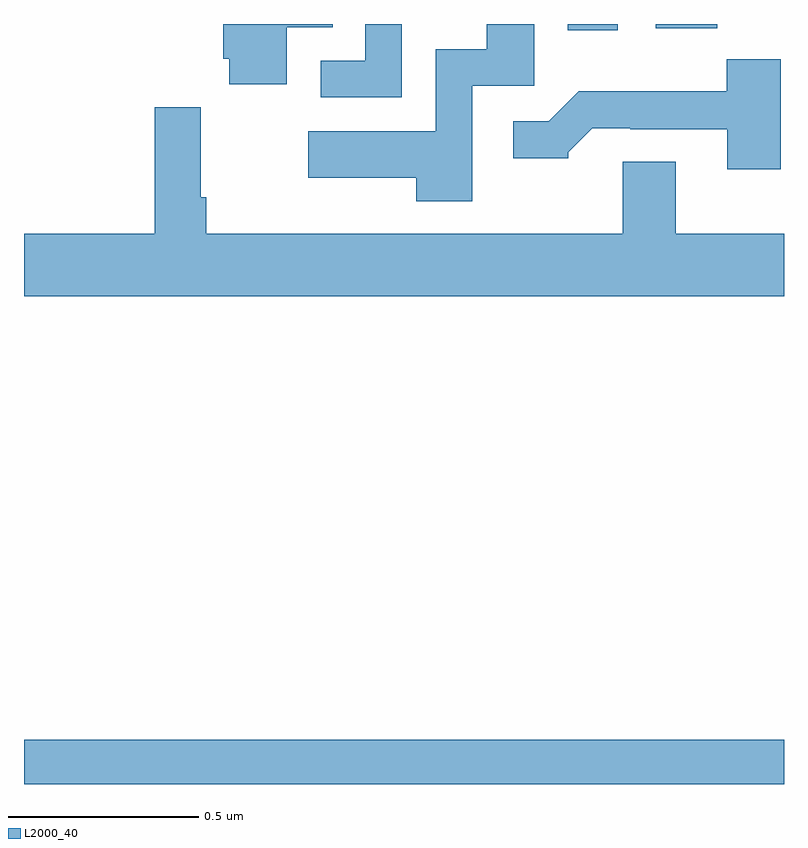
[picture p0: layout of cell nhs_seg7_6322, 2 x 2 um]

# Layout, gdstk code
import gdstk
lib = gdstk.Library(unit=1e-6, precision=1e-09)
def R(c, l, rs):  # rectangles x0, y0, x1, y1
    for r in rs: c.add(gdstk.rectangle(r[:2], r[2:], *l))
def P(c, l, *ps):  # polygons
    for p in ps: c.add(gdstk.Polygon(p, *l))
L2000_40 = (2000, 40)

nhs_seg7_6322 = lib.new_cell('nhs_seg7_6322')
R(nhs_seg7_6322, L2000_40, [(197,998,199,998.116), (198.431,999.984,198.562,1000), (198.662,999.989,198.824,1000)])
P(nhs_seg7_6322, L2000_40, [(198.18,999.837),(198.343,999.837),(198.343,1000),(198.218,1000),(198.218,999.934),(198.084,999.934),(198.084,999.718),(197.748,999.718),(197.748,999.596),(198.032,999.596),(198.032,999.534),(198.18,999.534)],
  [(197.692,999.992),(197.813,999.992),(197.813,1000),(197.524,1000),(197.524,999.909),(197.54,999.909),(197.54,999.842),(197.692,999.842)],
  [(197.994,1000),(197.898,1000),(197.898,999.903),(197.781,999.903),(197.781,999.807),(197.994,999.807)],
  [(198.991,999.907),(198.849,999.907),(198.849,999.823),(198.46,999.823),(198.381,999.744),(198.288,999.744),(198.288,999.647),(198.432,999.647),(198.432,999.662),(198.496,999.726),(198.595,999.726),(198.595,999.723),(198.851,999.723),(198.851,999.618),(198.991,999.618)],
  [(199,999.448),(198.715,999.448),(198.715,999.638),(198.575,999.638),(198.575,999.448),(197.48,999.448),(197.48,999.544),(197.465,999.544),(197.465,999.781),(197.344,999.781),(197.344,999.448),(197,999.448),(197,999.284),(199,999.284)])

lib.write_gds('nhs_seg7_6322.gds')
